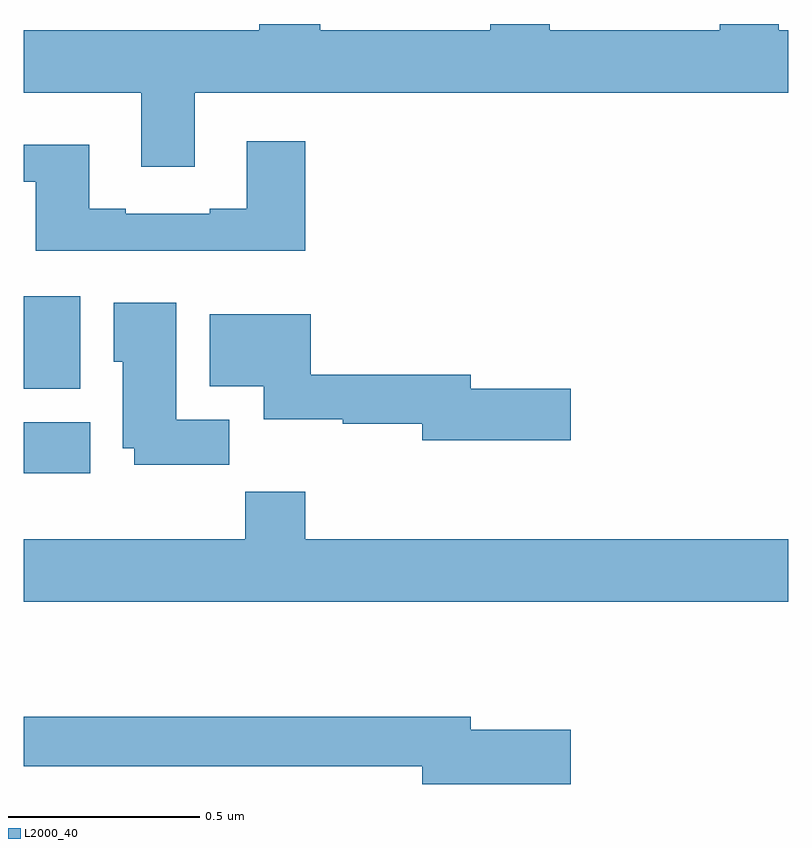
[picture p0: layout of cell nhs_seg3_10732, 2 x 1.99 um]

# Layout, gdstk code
import gdstk
lib = gdstk.Library(unit=1e-6, precision=1e-09)
def R(c, l, rs):  # rectangles x0, y0, x1, y1
    for r in rs: c.add(gdstk.rectangle(r[:2], r[2:], *l))
def P(c, l, *ps):  # polygons
    for p in ps: c.add(gdstk.Polygon(p, *l))
L2000_40 = (2000, 40)

nhs_seg3_10732 = lib.new_cell('nhs_seg3_10732')
R(nhs_seg3_10732, L2000_40, [(244,729.224,244.174,729.358), (244,729.446,244.147,729.688)])
P(nhs_seg3_10732, L2000_40, [(244.447,730.22),(246,730.22),(246,730.384),(245.976,730.384),(245.976,730.4),(245.821,730.4),(245.821,730.384),(245.376,730.384),(245.376,730.4),(245.221,730.4),(245.221,730.384),(244.776,730.384),(244.776,730.4),(244.616,730.4),(244.616,730.384),(244,730.384),(244,730.22),(244.307,730.22),(244.307,730.026),(244.447,730.026)],
  [(244.736,730.093),(244.583,730.093),(244.583,729.916),(244.487,729.916),(244.487,729.903),(244.267,729.903),(244.267,729.916),(244.171,729.916),(244.171,730.084),(244,730.084),(244,729.987),(244.031,729.987),(244.031,729.806),(244.736,729.806)],
  [(244.538,729.364),(244.399,729.364),(244.399,729.67),(244.235,729.67),(244.235,729.516),(244.259,729.516),(244.259,729.29),(244.289,729.29),(244.289,729.246),(244.538,729.246)],
  [(245.431,729.446),(245.17,729.446),(245.17,729.482),(244.751,729.482),(244.751,729.64),(244.487,729.64),(244.487,729.452),(244.628,729.452),(244.628,729.365),(244.834,729.365),(244.834,729.354),(245.042,729.354),(245.042,729.311),(245.431,729.311)],
  [(246,729.052),(244.736,729.052),(244.736,729.176),(244.579,729.176),(244.579,729.052),(244,729.052),(244,728.888),(246,728.888)],
  [(245.431,728.553),(245.17,728.553),(245.17,728.587),(244,728.587),(244,728.458),(245.042,728.458),(245.042,728.411),(245.431,728.411)])

lib.write_gds('nhs_seg3_10732.gds')
